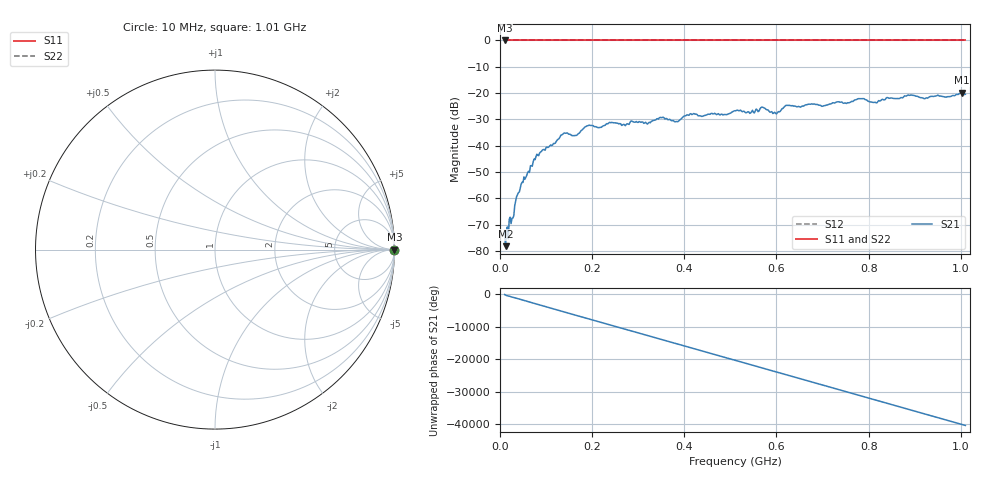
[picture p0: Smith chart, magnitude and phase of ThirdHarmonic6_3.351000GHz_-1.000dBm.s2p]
! 8/17/2025 10:34:45 AM
! C:\ANRITSUVNA\TEMP\TEMP.S2P
! CHANNEL.1
! TR.MEASUREMENT
! RAW.DATA
! RF.CORRECTION.OFF
! AVERAGING.OFF
! IF.BANDWIDTH: 5KHZ
! SWEEPTYPE:  FREQ.SWEEP(Linear)
! Reference Plane Port Info
! PORT:  PORT1  PORT2
! DISTANCE:  0  m  0  m
! TIME:  0  s  0  s
! PHASE.OFFSET:  0  deg.  0  deg.
! LOSS:  0  dB  0  dB
! REF.LOSS:  0  dB  0  dB
! REF.FREQ:  0  Hz  0  Hz
! Power Info
! POWER:  -20  dBm  -20  dBm
! EFF.POWER:  -20  dBm  -20  dBm
! SOURCE.ATTEN:  0  dB  0  dB
! TEST.ATTEN:  0  dB  0  dB
# GHZ S RI R 50.0
! FREQ.GHZ  S11RE  S11IM  S21RE  S21IM  S12RE  S12IM  S22RE  S22IM
!; PortSelection: Port_12
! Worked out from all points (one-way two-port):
!   501 points, 10 MHz to 1.01 GHz, reference 50 ohm
!   highest |S21| = -19.85 dB at 1.002 GHz (marker M1); lowest = -78.1 dB at 12 MHz (marker M2)
!   lowest |S11| = 0.0 dB at 10 MHz (marker M3)
!   |S11| at or under -10 dB: nowhere
!   |S22| runs from 0.0 to 0.0 dB; largest |S21 - S12| = 1.1
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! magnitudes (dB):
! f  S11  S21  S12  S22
! 10 MHz  0.0  -72.2  0.0  0.0
! 12 MHz  0.0  -78.1  0.0  0.0
! 14 MHz  0.0  -72.1  0.0  0.0
! 28 MHz  0.0  -67.4  0.0  0.0
! 36 MHz  0.0  -59.3  0.0  0.0
! 48 MHz  0.0  -53.8  0.0  0.0
! 78 MHz  0.0  -44.1  0.0  0.0
! 136 MHz  0.0  -35.6  0.0  0.0
! 164 MHz  0.0  -36.1  0.0  0.0
! 178 MHz  0.0  -34.0  0.0  0.0
! 344 MHz  0.0  -29.8  0.0  0.0
! 382 MHz  0.0  -30.8  0.0  0.0
! 416 MHz  0.0  -28.1  0.0  0.0
! 510 MHz  0.0  -26.7  0.0  0.0
! 570 MHz  0.0  -25.4  0.0  0.0
! 596 MHz  0.0  -27.3  0.0  0.0
! 622 MHz  0.0  -24.6  0.0  0.0
! 678 MHz  0.0  -24.2  0.0  0.0
! 814 MHz  0.0  -23.4  0.0  0.0
! 844 MHz  0.0  -22.0  0.0  0.0
! 1.002 GHz  0.0  -19.9  0.0  0.0
! 1.01 GHz  0.0  -20.4  0.0  0.0
